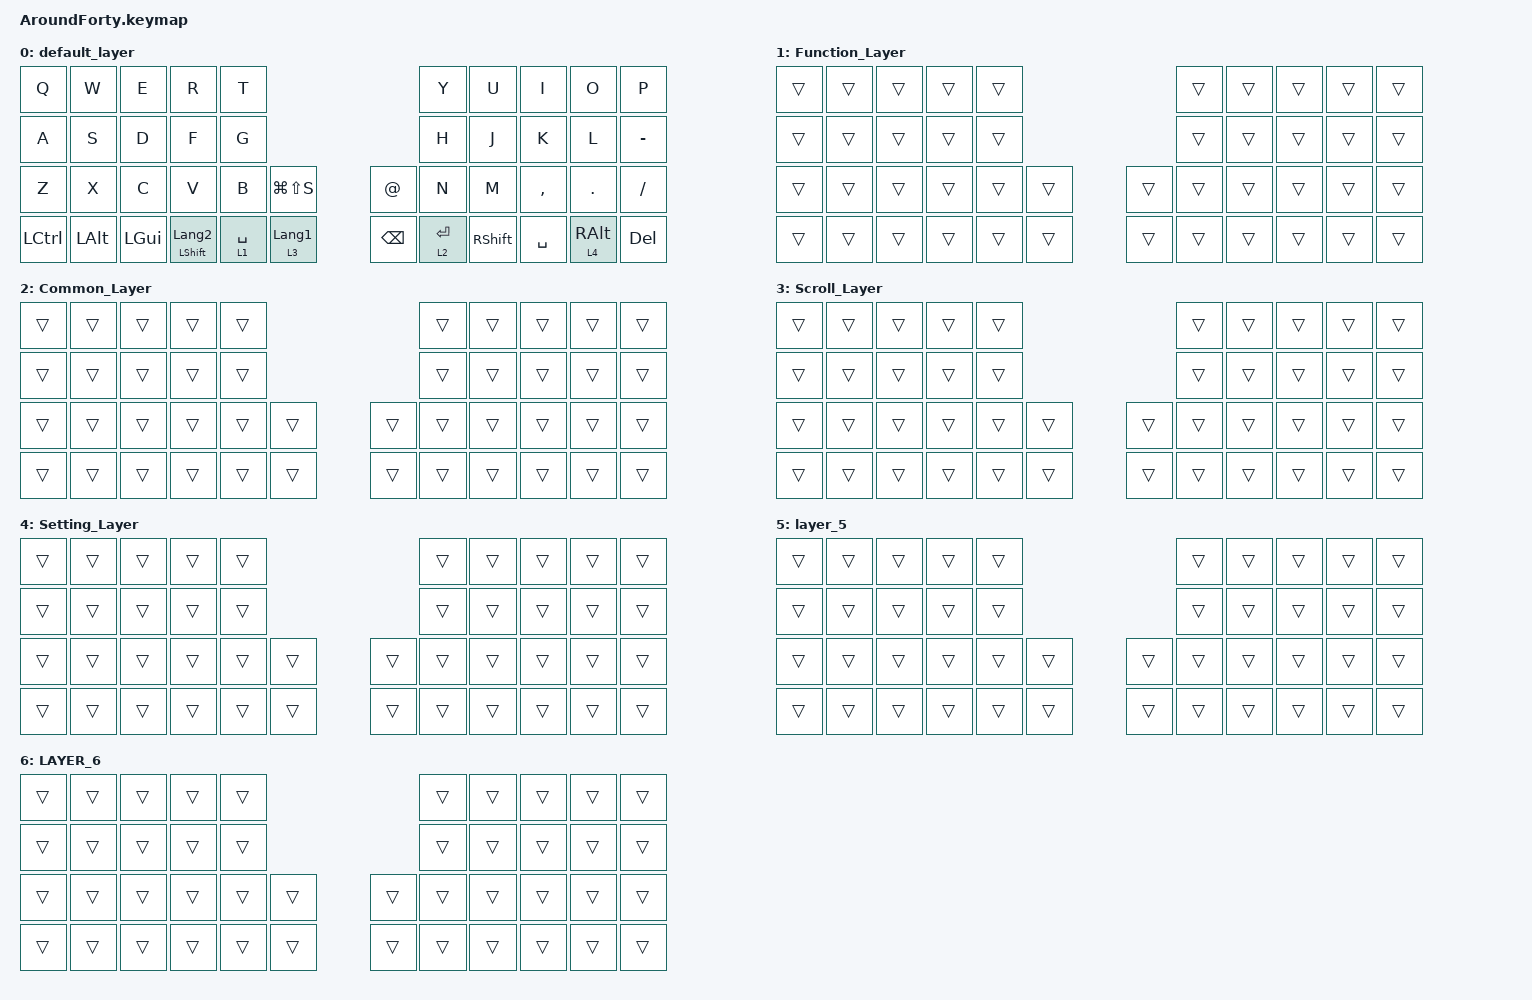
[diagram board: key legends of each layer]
#include <behaviors.dtsi>
#include <dt-bindings/zmk/keys.h>

// #include <behaviors/rgbled_widget.dtsi> // 使わないならコメントアウト

&mt {
    flavor = "balanced";
    quick-tap-ms = <0>;
};

/ {
    combos { compatible = "zmk,combos"; };

    macros {
        to_layer_0: to_layer_0 {
            compatible = "zmk,behavior-macro-one-param";
            #binding-cells = <1>;
            bindings = <&to 0 &macro_param_1to1 &kp MACRO_PLACEHOLDER>;
            label = "TO_LAYER_0";
        };
    };

    behaviors {
        lt_to_layer_0: lt_to_layer_0 {
            compatible = "zmk,behavior-hold-tap";
            label = "LAYER_TAP_TO_0";
            bindings = <&mo>, <&to_layer_0>;

            #binding-cells = <2>;
            tapping-term-ms = <200>;
        };

    };
    keymap {
        compatible = "zmk,keymap";

        default_layer {
            bindings = <
&kp Q      &kp W         &kp E         &kp R                      &kp T                          &kp Y  &kp U          &kp I        &kp O            &kp P
&kp A      &kp S         &kp D         &kp F                      &kp G                          &kp H  &kp J          &kp K        &kp L            &kp MINUS
&kp Z      &kp X         &kp C         &kp V                      &kp B        &kp LG(LS(S))            &kp AT_SIGN    &kp N        &kp M            &kp COMMA  &kp PERIOD       &kp SLASH
&kp LCTRL  &kp LEFT_ALT  &kp LEFT_GUI  &mt LEFT_SHIFT LANGUAGE_2  &lt 1 SPACE  &lt 3 LANGUAGE_1         &kp BACKSPACE  &lt 2 ENTER  &kp RIGHT_SHIFT  &kp SPACE  &lt 4 RIGHT_ALT  &kp DELETE
            >;
        };

        // 例として Function_Layer を「レイヤ1」と想定

        Function_Layer {
            bindings = <
&trans  &trans  &trans  &trans  &trans          &trans  &trans  &trans  &trans  &trans
&trans  &trans  &trans  &trans  &trans          &trans  &trans  &trans  &trans  &trans
&trans  &trans  &trans  &trans  &trans  &trans          &trans  &trans  &trans  &trans  &trans  &trans
&trans  &trans  &trans  &trans  &trans  &trans          &trans  &trans  &trans  &trans  &trans  &trans
            >;
        };

        Common_Layer {
            bindings = <
&trans  &trans  &trans  &trans  &trans          &trans  &trans  &trans  &trans  &trans
&trans  &trans  &trans  &trans  &trans          &trans  &trans  &trans  &trans  &trans
&trans  &trans  &trans  &trans  &trans  &trans          &trans  &trans  &trans  &trans  &trans  &trans
&trans  &trans  &trans  &trans  &trans  &trans          &trans  &trans  &trans  &trans  &trans  &trans
            >;
        };

        Scroll_Layer {
            bindings = <
&trans  &trans  &trans  &trans  &trans          &trans  &trans  &trans  &trans  &trans
&trans  &trans  &trans  &trans  &trans          &trans  &trans  &trans  &trans  &trans
&trans  &trans  &trans  &trans  &trans  &trans          &trans  &trans  &trans  &trans  &trans  &trans
&trans  &trans  &trans  &trans  &trans  &trans          &trans  &trans  &trans  &trans  &trans  &trans
            >;
        };

        Setting_Layer {
            bindings = <
&trans  &trans  &trans  &trans  &trans          &trans  &trans  &trans  &trans  &trans
&trans  &trans  &trans  &trans  &trans          &trans  &trans  &trans  &trans  &trans
&trans  &trans  &trans  &trans  &trans  &trans          &trans  &trans  &trans  &trans  &trans  &trans
&trans  &trans  &trans  &trans  &trans  &trans          &trans  &trans  &trans  &trans  &trans  &trans
            >;
        };

        layer_5 {
            bindings = <
&trans  &trans  &trans  &trans  &trans          &trans  &trans  &trans  &trans  &trans
&trans  &trans  &trans  &trans  &trans          &trans  &trans  &trans  &trans  &trans
&trans  &trans  &trans  &trans  &trans  &trans          &trans  &trans  &trans  &trans  &trans  &trans
&trans  &trans  &trans  &trans  &trans  &trans          &trans  &trans  &trans  &trans  &trans  &trans
            >;
        };

        LAYER_6 {
            bindings = <
&trans  &trans  &trans  &trans  &trans          &trans  &trans  &trans  &trans  &trans
&trans  &trans  &trans  &trans  &trans          &trans  &trans  &trans  &trans  &trans
&trans  &trans  &trans  &trans  &trans  &trans          &trans  &trans  &trans  &trans  &trans  &trans
&trans  &trans  &trans  &trans  &trans  &trans          &trans  &trans  &trans  &trans  &trans  &trans
            >;
        };
    };
};
